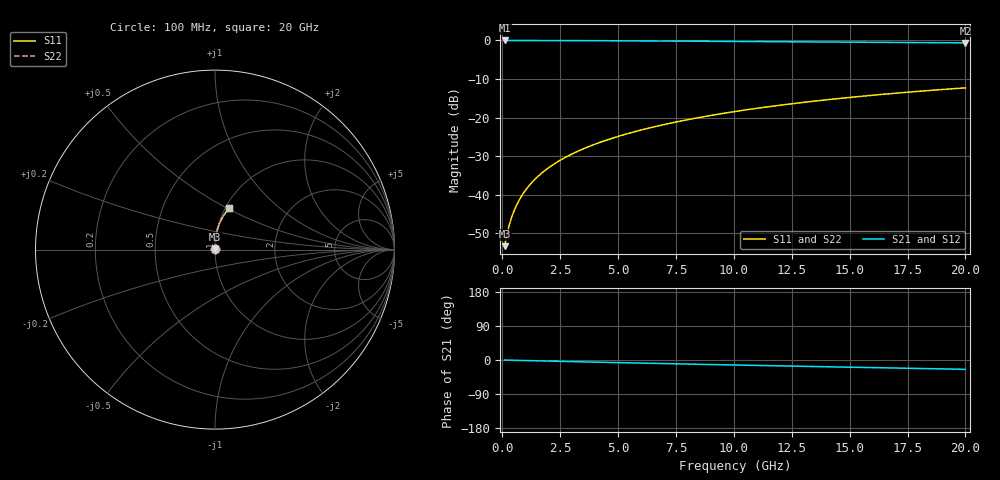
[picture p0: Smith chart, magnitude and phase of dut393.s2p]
! Touchstone file exported from HFSS 2024.1.0
!  File:  C:/UserFiles/LocalFiles/RDL_TSV_Batchsim/temp_RDL_top_393_1779609905.aedt
!  Generated:  04:07:24 PM May 24, 2026
!  Design:  RDL_top
!  Project:  temp_RDL_top_393_1779609905
!  Setup:  Setup1
!  Solution:  Sweep
! Variables:
!  dtsv = 10.80580581um
!  hbump = 3um
!  htsv = 79.5um
!  ldown = 100um
!  lrdl = 341.04um
!  p = 40
!  p1 = 43.45um
!  rhole = 1um
!  t = 450um
!  tdown = 3.915915916um
!  trdl = 3.79um
!  wdown = 15.38538539um
!  wrdl = 19.97um
# GHz S MA R 50.000000
! Terminal data exported
! Port[1] = Box2_T1
! Port[2] = Box2_T2
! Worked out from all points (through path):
!   200 points, 100 MHz to 20 GHz, reference 50 ohm
!   highest |S21| = -0.02 dB at 100 MHz (marker M1); lowest = -0.6 dB at 20 GHz (marker M2)
!   group delay of S21, straight-line fit = 3.39 ps
!   lowest |S11| = -53.3 dB at 100 MHz (marker M3), VSWR 1.00, Z = 50.2 + j0.123 ohm
!   |S11| at or under -10 dB: start of sweep to end of sweep
!   |S22| runs from -53.3 to -12.3 dB; largest |S21 - S12| = 4.4e-15
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0.1  0.002164 34.6  0.9982 -0.1  0.9982 -0.1  0.002164 34.6
! Gamma 0 0 0 0
! Port Impedance 50 0 50 0
0.2  0.00305 52.5  0.9981 -0.3  0.9981 -0.3  0.00305 52.4
0.3  0.004058 61.4  0.998 -0.4  0.998 -0.4  0.004058 61.4
0.4  0.005091 66.6  0.9979 -0.6  0.9979 -0.6  0.005091 66.6
0.5  0.006132 70.2  0.9978 -0.7  0.9978 -0.7  0.006132 70.2
0.6  0.007181 72.8  0.9977 -0.9  0.9977 -0.9  0.00718 72.8
0.8  0.0093 76.4  0.9976 -1.1  0.9976 -1.1  0.009299 76.4
1.1  0.01253 79.7  0.9973 -1.6  0.9973 -1.6  0.01253 79.7
1.3  0.0147 81.1  0.9971 -1.8  0.9971 -1.8  0.0147 81.1
1.6  0.018 82.6  0.9967 -2.3  0.9967 -2.3  0.018 82.6
2.1  0.02354 84.1  0.9959 -3.0  0.9959 -3.0  0.02354 84.1
2.7  0.03029 85.2  0.9947 -3.8  0.9947 -3.8  0.03029 85.2
3.5  0.03944 85.9  0.9928 -4.9  0.9928 -4.9  0.03944 85.9
4.2  0.04759 86.1  0.9909 -5.8  0.9909 -5.8  0.04759 86.1
5  0.05707 86.1  0.9884 -6.9  0.9884 -6.9  0.05707 86.1
5.9  0.06793 85.8  0.9853 -8.1  0.9853 -8.1  0.06793 85.8
6.8  0.07898 85.4  0.9821 -9.2  0.9821 -9.2  0.07898 85.4
8.4  0.099 84.2  0.976 -11.2  0.976 -11.2  0.09899 84.2
10.1  0.1206 82.6  0.9694 -13.3  0.9694 -13.3  0.1206 82.6
13.4  0.1625 79.0  0.9564 -17.2  0.9564 -17.2  0.1625 78.9
16.7  0.2036 75.0  0.9431 -20.9  0.9431 -20.9  0.2036 75.0
20  0.243 71.1  0.9296 -24.6  0.9296 -24.6  0.243 71.1
